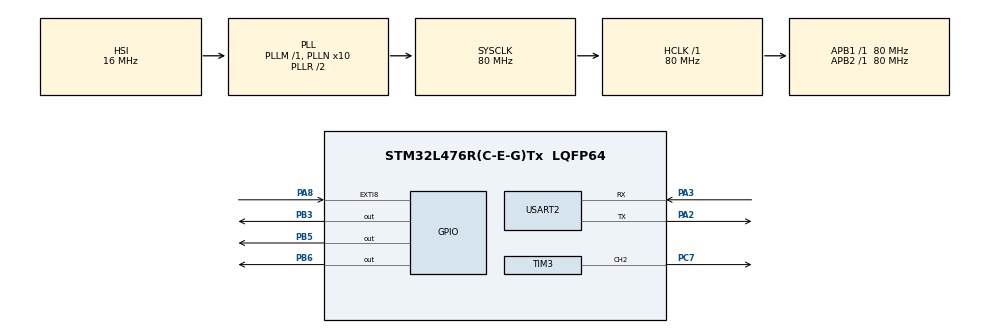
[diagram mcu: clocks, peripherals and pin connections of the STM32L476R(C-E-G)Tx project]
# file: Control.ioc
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Mcu.Family=STM32L4
Mcu.Name=STM32L476R(C-E-G)Tx
Mcu.Package=LQFP64
NVIC.EXTI9_5_IRQn=true\:0\:0\:false\:false\:true\:true\:true\:true
NVIC.PriorityGroup=NVIC_PRIORITYGROUP_4
PA2.Mode=Asynchronous
PA2.Signal=USART2_TX
PA3.Mode=Asynchronous
PA3.Signal=USART2_RX
PA8.Signal=GPXTI8
PB3\ (JTDO-TRACESWO).Signal=GPIO_Output
PB5.Signal=GPIO_Output
PB6.Signal=GPIO_Output
PC7.Signal=S_TIM3_CH2
ProjectManager.HeapSize=0x200
ProjectManager.StackSize=0x400
ProjectManager.TargetToolchain=STM32CubeIDE
RCC.ADCFreq_Value=64000000
RCC.AHBFreq_Value=80000000
RCC.APB1Freq_Value=80000000
RCC.APB1TimFreq_Value=80000000
RCC.APB2Freq_Value=80000000
RCC.APB2TimFreq_Value=80000000
RCC.CortexFreq_Value=80000000
RCC.HCLKFreq_Value=80000000
RCC.HSE_VALUE=8000000
RCC.HSI_VALUE=16000000
RCC.LSE_VALUE=32768
RCC.MSI_VALUE=4000000
RCC.PLLN=10
RCC.PLLSourceVirtual=RCC_PLLSOURCE_HSI
RCC.PREFETCH_ENABLE=1
RCC.SYSCLKFreq_VALUE=80000000
RCC.SYSCLKSource=RCC_SYSCLKSOURCE_PLLCLK
RCC.USBFreq_Value=64000000
RCC.VCOOutputFreq_Value=160000000
SH.S_TIM3_CH2.0=TIM3_CH2,PWM Generation2 CH2
TIM3.Channel-PWM\ Generation2\ CH2=TIM_CHANNEL_2
TIM3.Prescaler=79
USART2.VirtualMode-Asynchronous=VM_ASYNC
VP_TIM3_VS_ClockSourceINT.Mode=Internal
board=NUCLEO-L476RG

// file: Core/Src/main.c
/* USER CODE BEGIN Header */
/**
  ******************************************************************************
  * @file           : main.c
  * @brief          : Main program body
  ******************************************************************************
  * @attention
  *
  * Copyright (c) 2026 STMicroelectronics.
  * All rights reserved.
  *
  * This software is licensed under terms that can be found in the LICENSE file
  * in the root directory of this software component.
  * If no LICENSE file comes with this software, it is provided AS-IS.
  *
  ******************************************************************************
  */
/* USER CODE END Header */
#include "main.h"

/* USER CODE BEGIN Includes */

#include <string.h>
#include <stdio.h>
#include <math.h>

/* USER CODE END Includes */

TIM_HandleTypeDef htim3;

UART_HandleTypeDef huart2;

/* USER CODE BEGIN PV */

volatile uint32_t pulse_count = 0;

uint32_t current_count = 0;

uint32_t difference = 0;

uint32_t time = 0;

uint32_t time1 = 0;

 uint8_t value = 0;

 float error = 0;

 float Kp = 0.1;

float rpm = 0;

float setpoint_rpm = 1000;

float pwm = 0;

float base_pwm = 369;

static float integral = 0;

float Ki = 0.002;

float dt = 0.1;

float deriviative = 0;

float prev_error = 0;

float kd = 0.01;

volatile uint8_t uart_flag = 0;

/* USER CODE END PV */

void SystemClock_Config(void);
static void MX_GPIO_Init(void);
static void MX_USART2_UART_Init(void);
static void MX_TIM3_Init(void);

int main(void)
{

  /* MCU Configuration--------------------------------------------------------*/

  /* Reset of all peripherals, Initializes the Flash interface and the Systick. */
  HAL_Init();

  /* Configure the system clock */
  SystemClock_Config();

  /* Initialize all configured peripherals */
  MX_GPIO_Init();
  MX_USART2_UART_Init();
  MX_TIM3_Init();
  /* USER CODE BEGIN 2 */

HAL_TIM_PWM_Start(&htim3, TIM_CHANNEL_2);

  /* USER CODE END 2 */

  /* Infinite loop */
  while (1)
  {

    /* USER CODE BEGIN 3 */

//	  if(uart_flag){
//		  uart_flag = 0;
//		  value ++;
//
//		  char msg[32];
//
//		  int len = snprintf(msg, sizeof(msg), "The value is : %hu", value);
//
//		  HAL_UART_Transmit(&huart2, (uint8_t *)msg, len, HAL_MAX_DELAY);
//	  }

	  if(HAL_GetTick() - time >= 100){ // Changed it from  1000 which is 1 second
		  difference = pulse_count - current_count;
		  current_count = pulse_count;
		  time = HAL_GetTick();

		  rpm = (difference * 600) / 60; // But in that case then we would use 60 in place of 600
	  }

	  error = setpoint_rpm - rpm;

	  if(fabs(error) < 1){
		  error = 0;
	  }

	  if(pwm < 999 && pwm > 0 && fabs(error) < 200){

		  integral += error * dt;

	  }

	  if(integral > 200){
		  integral = 200;
	  }

	  else if(integral < -200){
		  integral = -200;
	  }

	  deriviative = 0.7 * deriviative + 0.3 * ((error - prev_error) / dt);

	  prev_error = error;

	  pwm = base_pwm + (Kp * error) + (Ki * integral) + (kd * deriviative);

	  if(pwm > 999){
		  pwm = 999;
	  }

	  else if(pwm < 0){
		  pwm = 0;
	  }

	  HAL_GPIO_WritePin(GPIOB, GPIO_PIN_5, GPIO_PIN_SET);
	  HAL_GPIO_WritePin(GPIOB, GPIO_PIN_3, GPIO_PIN_RESET);

	  __HAL_TIM_SET_COMPARE(&htim3, TIM_CHANNEL_2, pwm);

	  if(HAL_GetTick() - time1 >= 500){
		  time1 = HAL_GetTick();

		  	char msg[90];

			int len = snprintf(msg, sizeof(msg), "The RPM is : %.2f, The Integral is : %.2f\n\r", rpm, integral);

			HAL_UART_Transmit(&huart2, (uint8_t*) msg, len, HAL_MAX_DELAY);
	  }
  }
  /* USER CODE END 3 */
}

void SystemClock_Config(void)
{
  RCC_OscInitTypeDef RCC_OscInitStruct = {0};
  RCC_ClkInitTypeDef RCC_ClkInitStruct = {0};

  /** Configure the main internal regulator output voltage
  */
  if (HAL_PWREx_ControlVoltageScaling(PWR_REGULATOR_VOLTAGE_SCALE1) != HAL_OK)
  {
    Error_Handler();
  }

  /** Initializes the RCC Oscillators according to the specified parameters
  * in the RCC_OscInitTypeDef structure.
  */
  RCC_OscInitStruct.OscillatorType = RCC_OSCILLATORTYPE_HSI;
  RCC_OscInitStruct.HSIState = RCC_HSI_ON;
  RCC_OscInitStruct.HSICalibrationValue = RCC_HSICALIBRATION_DEFAULT;
  RCC_OscInitStruct.PLL.PLLState = RCC_PLL_ON;
  RCC_OscInitStruct.PLL.PLLSource = RCC_PLLSOURCE_HSI;
  RCC_OscInitStruct.PLL.PLLM = 1;
  RCC_OscInitStruct.PLL.PLLN = 10;
  RCC_OscInitStruct.PLL.PLLP = RCC_PLLP_DIV7;
  RCC_OscInitStruct.PLL.PLLQ = RCC_PLLQ_DIV2;
  RCC_OscInitStruct.PLL.PLLR = RCC_PLLR_DIV2;
  if (HAL_RCC_OscConfig(&RCC_OscInitStruct) != HAL_OK)
  {
    Error_Handler();
  }

  /** Initializes the CPU, AHB and APB buses clocks
  */
  RCC_ClkInitStruct.ClockType = RCC_CLOCKTYPE_HCLK|RCC_CLOCKTYPE_SYSCLK
                              |RCC_CLOCKTYPE_PCLK1|RCC_CLOCKTYPE_PCLK2;
  RCC_ClkInitStruct.SYSCLKSource = RCC_SYSCLKSOURCE_PLLCLK;
  RCC_ClkInitStruct.AHBCLKDivider = RCC_SYSCLK_DIV1;
  RCC_ClkInitStruct.APB1CLKDivider = RCC_HCLK_DIV1;
  RCC_ClkInitStruct.APB2CLKDivider = RCC_HCLK_DIV1;

  if (HAL_RCC_ClockConfig(&RCC_ClkInitStruct, FLASH_LATENCY_4) != HAL_OK)
  {
    Error_Handler();
  }
}

static void MX_TIM3_Init(void)
{

  TIM_ClockConfigTypeDef sClockSourceConfig = {0};
  TIM_MasterConfigTypeDef sMasterConfig = {0};
  TIM_OC_InitTypeDef sConfigOC = {0};

  htim3.Instance = TIM3;
  htim3.Init.Prescaler = 79;
  htim3.Init.CounterMode = TIM_COUNTERMODE_UP;
  htim3.Init.Period = 999;
  htim3.Init.ClockDivision = TIM_CLOCKDIVISION_DIV1;
  htim3.Init.AutoReloadPreload = TIM_AUTORELOAD_PRELOAD_DISABLE;
  if (HAL_TIM_Base_Init(&htim3) != HAL_OK)
  {
    Error_Handler();
  }
  sClockSourceConfig.ClockSource = TIM_CLOCKSOURCE_INTERNAL;
  if (HAL_TIM_ConfigClockSource(&htim3, &sClockSourceConfig) != HAL_OK)
  {
    Error_Handler();
  }
  if (HAL_TIM_PWM_Init(&htim3) != HAL_OK)
  {
    Error_Handler();
  }
  sMasterConfig.MasterOutputTrigger = TIM_TRGO_RESET;
  sMasterConfig.MasterSlaveMode = TIM_MASTERSLAVEMODE_DISABLE;
  if (HAL_TIMEx_MasterConfigSynchronization(&htim3, &sMasterConfig) != HAL_OK)
  {
    Error_Handler();
  }
  sConfigOC.OCMode = TIM_OCMODE_PWM1;
  sConfigOC.Pulse = 0;
  sConfigOC.OCPolarity = TIM_OCPOLARITY_HIGH;
  sConfigOC.OCFastMode = TIM_OCFAST_DISABLE;
  if (HAL_TIM_PWM_ConfigChannel(&htim3, &sConfigOC, TIM_CHANNEL_2) != HAL_OK)
  {
    Error_Handler();
  }
  HAL_TIM_MspPostInit(&htim3);

}

static void MX_USART2_UART_Init(void)
{

  huart2.Instance = USART2;
  huart2.Init.BaudRate = 115200;
  huart2.Init.WordLength = UART_WORDLENGTH_8B;
  huart2.Init.StopBits = UART_STOPBITS_1;
  huart2.Init.Parity = UART_PARITY_NONE;
  huart2.Init.Mode = UART_MODE_TX_RX;
  huart2.Init.HwFlowCtl = UART_HWCONTROL_NONE;
  huart2.Init.OverSampling = UART_OVERSAMPLING_16;
  huart2.Init.OneBitSampling = UART_ONE_BIT_SAMPLE_DISABLE;
  huart2.AdvancedInit.AdvFeatureInit = UART_ADVFEATURE_NO_INIT;
  if (HAL_UART_Init(&huart2) != HAL_OK)
  {
    Error_Handler();
  }

}

static void MX_GPIO_Init(void)
{
  GPIO_InitTypeDef GPIO_InitStruct = {0};

  /* GPIO Ports Clock Enable */
  __HAL_RCC_GPIOA_CLK_ENABLE();
  __HAL_RCC_GPIOC_CLK_ENABLE();
  __HAL_RCC_GPIOB_CLK_ENABLE();

  /*Configure GPIO pin Output Level */
  HAL_GPIO_WritePin(GPIOB, GPIO_PIN_3|GPIO_PIN_5|GPIO_PIN_6, GPIO_PIN_RESET);

  /*Configure GPIO pin : PA8 */
  GPIO_InitStruct.Pin = GPIO_PIN_8;
  GPIO_InitStruct.Mode = GPIO_MODE_IT_RISING;
  GPIO_InitStruct.Pull = GPIO_NOPULL;
  HAL_GPIO_Init(GPIOA, &GPIO_InitStruct);

  /*Configure GPIO pins : PB3 PB5 PB6 */
  GPIO_InitStruct.Pin = GPIO_PIN_3|GPIO_PIN_5|GPIO_PIN_6;
  GPIO_InitStruct.Mode = GPIO_MODE_OUTPUT_PP;
  GPIO_InitStruct.Pull = GPIO_NOPULL;
  GPIO_InitStruct.Speed = GPIO_SPEED_FREQ_LOW;
  HAL_GPIO_Init(GPIOB, &GPIO_InitStruct);

  /* EXTI interrupt init*/
  HAL_NVIC_SetPriority(EXTI9_5_IRQn, 0, 0);
  HAL_NVIC_EnableIRQ(EXTI9_5_IRQn);

}

/* USER CODE BEGIN 4 */
void HAL_GPIO_EXTI_Callback(uint16_t GPIO_Pin)
{
  /* Prevent unused argument(s) compilation warning */
  UNUSED(GPIO_Pin);

  /* NOTE: This function should not be modified, when the callback is needed,
           the HAL_GPIO_EXTI_Callback could be implemented in the user file
   */
  if(GPIO_Pin == GPIO_PIN_8){
	  HAL_GPIO_TogglePin(GPIOB, GPIO_PIN_6);

	  pulse_count ++;

//	  uart_flag = 1;
  }
}

/* USER CODE END 4 */

void Error_Handler(void)
{
  __disable_irq();
  while (1)
  {
  }
}
